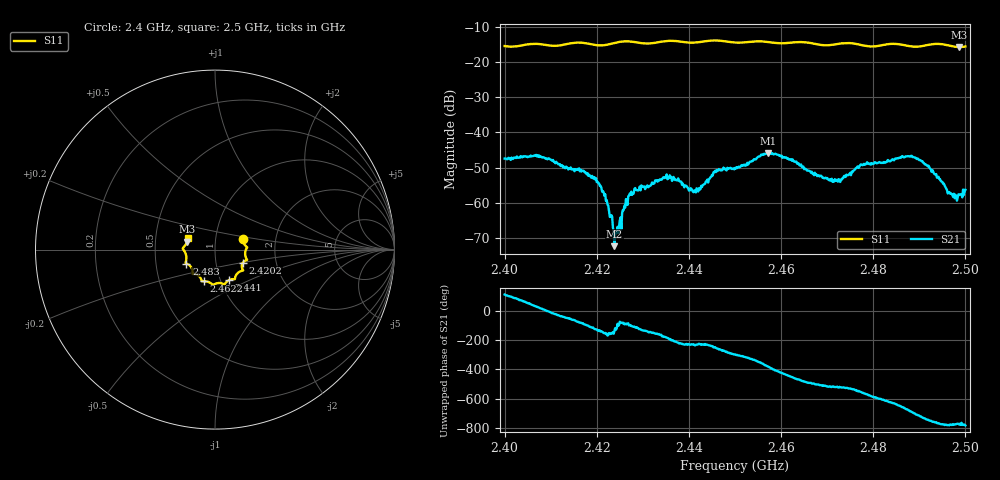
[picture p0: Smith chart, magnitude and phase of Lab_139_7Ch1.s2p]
# Hz S RI R 50
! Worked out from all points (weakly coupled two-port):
!   601 points, 2.4 GHz to 2.5 GHz, reference 50 ohm
!   highest |S21| = -45.83 dB at 2.4572 GHz (marker M1); lowest = -72.3 dB at 2.4238 GHz (marker M2)
!   lowest |S11| = -15.8 dB at 2.4987 GHz (marker M3), VSWR 1.39, Z = 36.4 + j3.29 ohm
!   |S11| at or under -10 dB: start of sweep to end of sweep
!   S12 and S22 are empty: the file has one direction only
!   S11 on the Smith chart (normalised r, x): 2.4 GHz: 1.36, +0.17; 2.4202 GHz: 1.35, -0.20; 2.441 GHz: 1.10, -0.39; 2.4622 GHz: 0.83, -0.30; 2.483 GHz: 0.72, -0.12; 2.5 GHz: 0.73, +0.09
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2.4e9  0.1564 0.0601  -0.00136 0.00403  0 0  0 0
2.407e9  0.1793 0.0119  0.00415 0.00192  0 0  0 0
2.416667e9  0.1776 -0.0584  0.000279 -0.00277  0 0  0 0
2.420167e9  0.1561 -0.0719  -0.00141 -0.00143  0 0  0 0
2.422e9  0.1493 -0.0892  -0.001 -0.000366  0 0  0 0
2.423833e9  0.1521 -0.106  -0.000185 -0.000159  0 0  0 0
2.424333e9  0.1537 -0.1093  -0.000194 -0.000319  0 0  0 0
2.427333e9  0.1547 -0.117  -0.000196 -0.00129  0 0  0 0
2.433333e9  0.1129 -0.1524  -0.00198 -0.000672  0 0  0 0
2.436333e9  0.1101 -0.1653  -0.00189 0.000807  0 0  0 0
2.441e9  0.077 -0.1705  -0.000928 0.00107  0 0  0 0
2.446e9  0.0516 -0.194  -0.000708 0.00284  0 0  0 0
2.45e9  0.0264 -0.1862  0.00147 0.00276  0 0  0 0
2.457167e9  -0.0193 -0.1903  0.00476 -0.00186  0 0  0 0
2.462167e9  -0.0633 -0.1764  1.3e-06 -0.00416  0 0  0 0
2.466667e9  -0.0765 -0.1668  -0.00198 -0.00193  0 0  0 0
2.472333e9  -0.117 -0.1362  -0.00191 -0.000606  0 0  0 0
2.483e9  -0.1593 -0.078  -0.000953 0.00372  0 0  0 0
2.483333e9  -0.1608 -0.0773  -0.00071 0.00386  0 0  0 0
2.490167e9  -0.1645 -0.02  0.00406 0.00013  0 0  0 0
2.498667e9  -0.1559 0.044  0.000764 -0.00107  0 0  0 0
2.5e9  -0.1531 0.0628  0.000753 -0.00134  0 0  0 0
